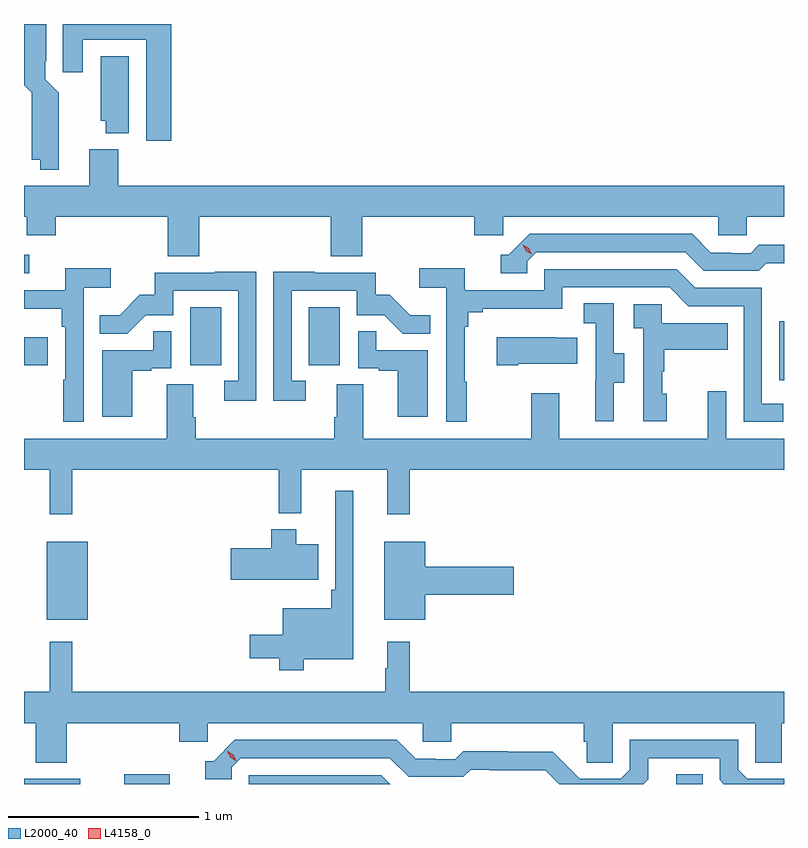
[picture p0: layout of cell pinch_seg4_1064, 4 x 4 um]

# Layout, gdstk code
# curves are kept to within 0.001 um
import gdstk
lib = gdstk.Library(unit=1e-6, precision=1e-09)
def R(c, l, rs):  # rectangles x0, y0, x1, y1
    for r in rs: c.add(gdstk.rectangle(r[:2], r[2:], *l))
def P(c, l, *ps):  # polygons
    for p in ps: c.add(gdstk.Polygon(p, *l))
L2000_40 = (2000, 40)
L4158_0 = (4158, 0)

pinch_seg4_1064 = lib.new_cell('pinch_seg4_1064')
R(pinch_seg4_1064, L2000_40, [(854.464,761.867,854.76,761.895), (854.991,761.867,855.23,761.918), (857.897,761.867,858.037,761.918), (854.585,762.731,854.8,763.141), (858.438,763.992,858.464,764.302), (855.338,764.07,855.502,764.377), (855.962,764.07,856.126,764.377), (854.464,764.071,854.59,764.218), (854.464,764.556,854.491,764.652)])
P(pinch_seg4_1064, L2000_40, [(854.646,765.404),(854.647,765.506),(854.577,765.576),(854.577,765.67),(854.581,765.67),(854.581,765.867),(854.464,765.867),(854.464,765.545),(854.504,765.506),(854.504,765.152),(854.549,765.152),(854.549,765.101),(854.646,765.101)],
  [(855.239,765.867),(854.669,765.867),(854.669,765.612),(854.773,765.612),(854.773,765.783),(855.107,765.783),(855.107,765.252),(855.239,765.252)],
  [(855.016,765.698),(854.867,765.698),(854.867,765.357),(854.894,765.357),(854.894,765.293),(855.016,765.293)],
  [(855.386,764.852),(856.079,764.852),(856.079,764.644),(856.244,764.644),(856.244,764.852),(856.835,764.852),(856.835,764.754),(856.986,764.754),(856.986,764.852),(858.117,764.852),(858.117,764.754),(858.267,764.754),(858.267,764.852),(858.464,764.852),(858.464,765.016),(854.96,765.016),(854.96,765.208),(854.807,765.208),(854.807,765.016),(854.464,765.016),(854.464,764.852),(854.478,764.852),(854.478,764.754),(854.63,764.754),(854.63,764.852),(855.221,764.852),(855.221,764.644),(855.386,764.644)],
  [(857.112,764.619),(857.16,764.667),(857.943,764.667),(858.042,764.568),(858.331,764.568),(858.37,764.607),(858.464,764.607),(858.464,764.704),(858.331,764.704),(858.289,764.661),(858.186,764.661),(858.186,764.664),(858.079,764.664),(857.98,764.763),(857.127,764.763),(857.016,764.652),(856.973,764.652),(856.973,764.556),(857.112,764.556)],
  [(856.795,763.985),(856.783,763.985),(856.783,764.273),(856.802,764.273),(856.802,764.35),(856.879,764.35),(856.879,764.369),(857.298,764.369),(857.298,764.481),(857.862,764.481),(857.961,764.382),(858.252,764.382),(858.252,763.773),(858.461,763.773),(858.461,763.869),(858.348,763.869),(858.348,764.478),(857.998,764.478),(857.899,764.577),(857.202,764.577),(857.202,764.466),(856.784,764.466),(856.784,764.582),(856.545,764.582),(856.545,764.48),(856.686,764.48),(856.686,763.773),(856.795,763.773)],
  [(854.778,764.48),(854.92,764.48),(854.92,764.582),(854.681,764.582),(854.681,764.466),(854.464,764.466),(854.464,764.369),(854.662,764.369),(854.662,764.273),(854.682,764.273),(854.682,763.994),(854.67,763.994),(854.67,763.773),(854.778,763.773)],
  [(855.687,764.564),(855.469,764.564),(855.469,764.559),(855.151,764.559),(855.151,764.442),(855.074,764.442),(854.967,764.335),(854.863,764.335),(854.863,764.236),(855.007,764.236),(855.105,764.334),(855.249,764.334),(855.249,764.463),(855.591,764.463),(855.591,763.989),(855.519,763.989),(855.519,763.884),(855.687,763.884)],
  [(855.946,763.989),(855.873,763.989),(855.873,764.463),(856.215,764.463),(856.215,764.334),(856.359,764.334),(856.457,764.236),(856.601,764.236),(856.601,764.335),(856.497,764.335),(856.39,764.442),(856.314,764.442),(856.314,764.559),(855.995,764.559),(855.995,764.564),(855.777,764.564),(855.777,763.884),(855.946,763.884)],
  [(857.569,763.978),(857.623,763.978),(857.623,764.133),(857.568,764.133),(857.568,764.396),(857.409,764.396),(857.409,764.293),(857.472,764.293),(857.472,763.989),(857.471,763.989),(857.471,763.776),(857.569,763.776)],
  [(857.848,763.92),(857.823,763.92),(857.823,764.039),(857.833,764.039),(857.833,764.153),(858.167,764.153),(858.167,764.293),(857.82,764.293),(857.82,764.391),(857.673,764.391),(857.673,764.267),(857.724,764.267),(857.724,763.776),(857.848,763.776)],
  [(856.588,764.151),(856.319,764.151),(856.319,764.249),(856.224,764.249),(856.224,764.055),(856.331,764.055),(856.331,764.043),(856.43,764.043),(856.43,763.8),(856.588,763.8)],
  [(855.034,764.043),(855.134,764.043),(855.134,764.055),(855.24,764.055),(855.24,764.249),(855.145,764.249),(855.145,764.151),(854.876,764.151),(854.876,763.8),(855.034,763.8)],
  [(857.065,764.078),(857.375,764.078),(857.375,764.215),(857.267,764.215),(857.267,764.218),(856.953,764.218),(856.953,764.071),(857.065,764.071)],
  [(854.717,763.52),(855.805,763.52),(855.805,763.292),(855.923,763.292),(855.923,763.52),(856.376,763.52),(856.376,763.287),(856.493,763.287),(856.493,763.52),(858.464,763.52),(858.464,763.684),(858.159,763.684),(858.159,763.933),(858.062,763.933),(858.062,763.684),(857.281,763.684),(857.281,763.924),(857.134,763.924),(857.134,763.684),(856.249,763.684),(856.249,763.97),(856.109,763.97),(856.109,763.796),(856.097,763.796),(856.097,763.684),(855.368,763.684),(855.368,763.796),(855.355,763.796),(855.355,763.97),(855.215,763.97),(855.215,763.684),(854.464,763.684),(854.464,763.52),(854.6,763.52),(854.6,763.287),(854.717,763.287)],
  [(855.937,762.524),(856.198,762.524),(856.198,763.411),(856.101,763.411),(856.101,762.889),(856.081,762.889),(856.081,762.793),(855.827,762.793),(855.827,762.652),(855.651,762.652),(855.651,762.53),(855.808,762.53),(855.808,762.467),(855.937,762.467)],
  [(856.012,763.129),(855.898,763.129),(855.898,763.207),(855.764,763.207),(855.764,763.107),(855.552,763.107),(855.552,762.941),(856.012,762.941)],
  [(856.576,762.863),(857.041,762.863),(857.041,763.01),(856.576,763.01),(856.576,763.141),(856.361,763.141),(856.361,762.731),(856.576,762.731)],
  [(856.563,762.09),(856.713,762.09),(856.713,762.188),(857.411,762.188),(857.411,762.09),(857.425,762.09),(857.425,761.98),(857.562,761.98),(857.562,762.188),(858.312,762.188),(858.312,761.98),(858.451,761.98),(858.451,762.188),(858.464,762.188),(858.464,762.352),(856.493,762.352),(856.493,762.616),(856.376,762.616),(856.376,762.476),(856.365,762.476),(856.365,762.352),(854.717,762.352),(854.717,762.616),(854.6,762.616),(854.6,762.352),(854.464,762.352),(854.464,762.188),(854.525,762.188),(854.525,761.98),(854.69,761.98),(854.69,762.188),(855.281,762.188),(855.281,762.09),(855.432,762.09),(855.432,762.188),(856.563,762.188)],
  [(857.749,761.893),(857.749,762.003),(858.126,762.003),(858.126,761.889),(858.148,761.867),(858.464,761.867),(858.464,761.895),(858.27,761.895),(858.222,761.943),(858.222,762.099),(857.652,762.099),(857.652,761.943),(857.604,761.895),(857.388,761.895),(857.246,762.037),(857.01,762.037),(857.01,762.04),(856.777,762.04),(856.735,761.997),(856.632,761.997),(856.632,762),(856.525,762),(856.426,762.099),(855.573,762.099),(855.462,761.988),(855.419,761.988),(855.419,761.892),(855.558,761.892),(855.558,761.955),(855.606,762.003),(856.389,762.003),(856.488,761.904),(856.777,761.904),(856.816,761.943),(856.915,761.943),(856.915,761.94),(857.208,761.94),(857.281,761.867),(857.723,761.867)],
  [(856.345,761.913),(855.648,761.913),(855.648,761.867),(856.391,761.867)])
P(pinch_seg4_1064, L4158_0, [(855.58,761.987),(855.55,762.008),(855.534,762.04),(855.534,762.041),(855.534,762.041),(855.565,762.021),(855.581,761.988),(855.581,761.987)],
  [(857.137,764.654),(857.105,764.673),(857.089,764.705),(857.089,764.705),(857.089,764.705),(857.12,764.686),(857.137,764.654),(857.137,764.654)])

lib.write_gds('pinch_seg4_1064.gds')
